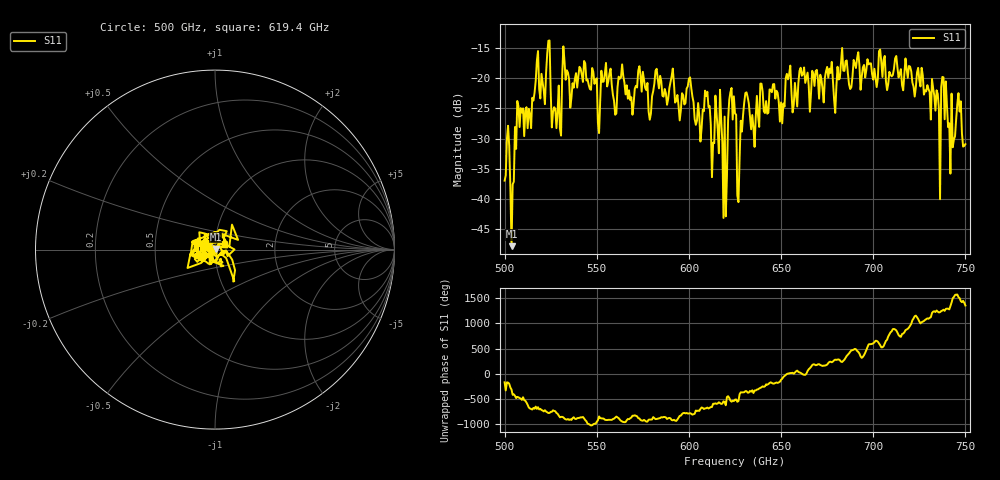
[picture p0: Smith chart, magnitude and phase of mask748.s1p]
!Created with skrf (http://scikit-rf.org).
# GHz S MA R 50.0
!freq magS11 angS11
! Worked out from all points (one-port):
!   401 points, 500 GHz to 750 GHz, reference 50 ohm
!   lowest |S11| = -47.8 dB at 503.8 GHz (marker M1), VSWR 1.01, Z = 50.3 + j0.293 ohm
!   |S11| at or under -10 dB: start of sweep to end of sweep
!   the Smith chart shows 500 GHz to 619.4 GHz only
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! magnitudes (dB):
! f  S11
! 500 GHz  -37.0
! 501.9 GHz  -27.9
! 503.8 GHz  -47.8
! 508.1 GHz  -28.1
! 513.8 GHz  -26.0
! 517.5 GHz  -17.1
! 523.8 GHz  -13.8
! 526.9 GHz  -24.8
! 531.2 GHz  -19.4
! 562.5 GHz  -20.1
! 593.8 GHz  -22.8
! 610 GHz  -22.2
! 612.5 GHz  -36.4
! 616.2 GHz  -32.4
! 619.4 GHz  -26.3
! 622.5 GHz  -22.3
! 625 GHz  -25.8
! 627.5 GHz  -33.3
! 631.2 GHz  -22.3
! 635 GHz  -28.1
! 656.2 GHz  -25.7
! 687.5 GHz  -21.8
! 718.8 GHz  -19.9
! 735 GHz  -22.6
! 738.1 GHz  -19.8
! 743.1 GHz  -31.4
! 746.2 GHz  -22.5
! 750 GHz  -30.9
